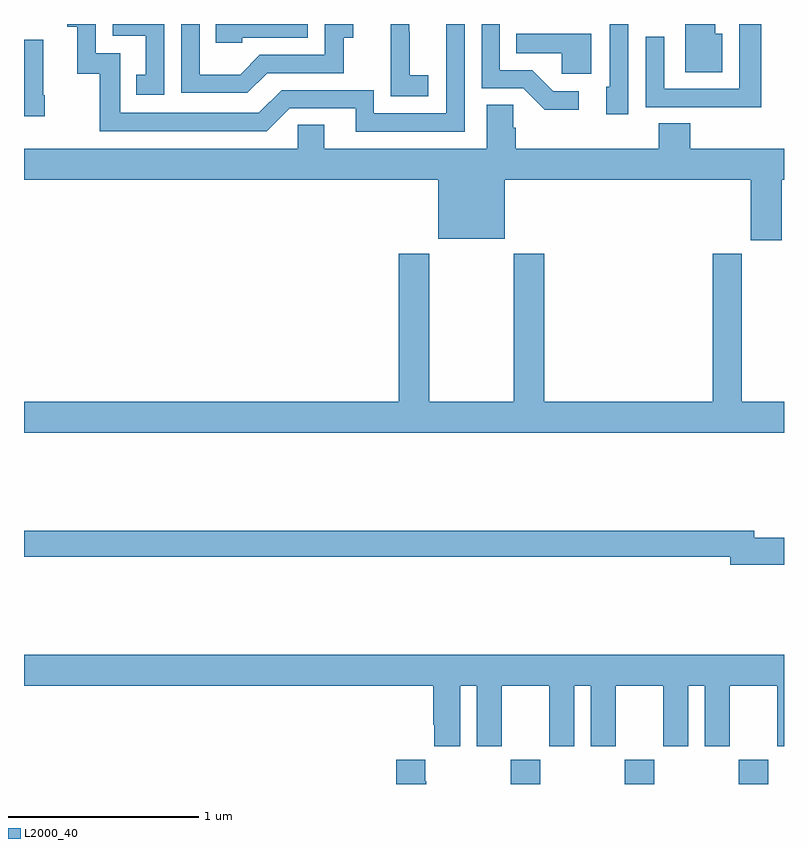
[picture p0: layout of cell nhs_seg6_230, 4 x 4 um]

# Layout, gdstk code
import gdstk
lib = gdstk.Library(unit=1e-6, precision=1e-09)
def R(c, l, rs):  # rectangles x0, y0, x1, y1
    for r in rs: c.add(gdstk.rectangle(r[:2], r[2:], *l))
def A(c, l, x, y, w, h, nx, ny, dx, dy):  # array of equal rectangles
    R(c, l, [(x+i*dx, y+j*dy, x+i*dx+w, y+j*dy+h) for i in range(nx) for j in range(ny)])
def P(c, l, *ps):  # polygons
    for p in ps: c.add(gdstk.Polygon(p, *l))
L2000_40 = (2000, 40)

nhs_seg6_230 = lib.new_cell('nhs_seg6_230')
A(nhs_seg6_230, L2000_40, 125.563, 933.5, 0.155, 0.128, 3, 1, 0.6, 0)
P(nhs_seg6_230, L2000_40, [(124.279,937.242),(124.683,937.242),(124.683,937.427),(124.732,937.427),(124.732,937.5),(124.584,937.5),(124.584,937.338),(124.242,937.338),(124.138,937.234),(123.924,937.234),(123.924,937.5),(123.828,937.5),(123.828,937.137),(124.174,937.137)],
  [(123.738,937.5),(123.468,937.5),(123.468,937.437),(123.641,937.437),(123.641,937.233),(123.592,937.233),(123.592,937.128),(123.738,937.128)],
  [(125.92,937.146),(125.785,937.146),(125.674,937.257),(125.505,937.257),(125.505,937.5),(125.409,937.5),(125.409,937.161),(125.628,937.161),(125.741,937.049),(125.92,937.049)],
  [(126.881,937.5),(126.765,937.5),(126.765,937.158),(126.369,937.158),(126.369,937.432),(126.273,937.432),(126.273,937.062),(126.589,937.062),(126.589,937.061),(126.881,937.061)],
  [(126.676,937.45),(126.637,937.45),(126.637,937.5),(126.479,937.5),(126.479,937.247),(126.676,937.247)],
  [(126.18,937.5),(126.083,937.5),(126.083,937.474),(126.084,937.474),(126.084,937.17),(126.065,937.17),(126.065,937.026),(126.18,937.026)],
  [(125.319,937.5),(125.113,937.5),(125.113,937.498),(125.223,937.498),(125.223,937.029),(124.842,937.029),(124.842,937.152),(124.356,937.152),(124.236,937.032),(123.507,937.032),(123.507,937.347),(123.378,937.347),(123.378,937.5),(123.228,937.5),(123.228,937.485),(123.281,937.485),(123.281,937.239),(123.399,937.239),(123.399,936.936),(124.278,936.936),(124.398,937.056),(124.745,937.056),(124.745,936.933),(125.319,936.933)],
  [(125.128,937.231),(125.03,937.231),(125.03,937.46),(125.028,937.46),(125.028,937.5),(124.931,937.5),(124.931,937.327),(124.93,937.327),(124.93,937.121),(125.128,937.121)],
  [(124.149,937.428),(124.494,937.428),(124.494,937.5),(124.009,937.5),(124.009,937.401),(124.149,937.401)],
  [(125.986,937.45),(125.59,937.45),(125.59,937.346),(125.829,937.346),(125.829,937.238),(125.986,937.238)],
  [(123.108,937.126),(123.1,937.126),(123.1,937.417),(123,937.417),(123,937.014),(123.108,937.014)],
  [(126.988,936.68),(127,936.68),(127,936.844),(126.506,936.844),(126.506,936.977),(126.341,936.977),(126.341,936.844),(125.588,936.844),(125.588,936.953),(125.574,936.953),(125.574,937.076),(125.435,937.076),(125.435,936.844),(124.579,936.844),(124.579,936.971),(124.44,936.971),(124.44,936.844),(123,936.844),(123,936.68),(125.18,936.68),(125.18,936.371),(125.53,936.371),(125.53,936.68),(126.824,936.68),(126.824,936.363),(126.988,936.363)],
  [(127,935.512),(126.778,935.512),(126.778,936.291),(126.626,936.291),(126.626,935.512),(125.738,935.512),(125.738,936.292),(125.578,936.292),(125.578,935.512),(125.133,935.512),(125.133,936.292),(124.973,936.292),(124.973,935.512),(123,935.512),(123,935.348),(127,935.348)],
  [(127,934.796),(126.844,934.796),(126.844,934.832),(123,934.832),(123,934.696),(126.716,934.696),(126.716,934.654),(127,934.654)],
  [(125.296,934.016),(125.384,934.016),(125.384,933.699),(125.515,933.699),(125.515,934.016),(125.765,934.016),(125.765,933.699),(125.896,933.699),(125.896,934.016),(125.984,934.016),(125.984,933.699),(126.115,933.699),(126.115,934.016),(126.365,934.016),(126.365,933.699),(126.496,933.699),(126.496,934.016),(126.584,934.016),(126.584,933.699),(126.715,933.699),(126.715,934.016),(126.965,934.016),(126.965,933.699),(127,933.699),(127,934.18),(123,934.18),(123,934.016),(125.153,934.016),(125.153,933.811),(125.159,933.811),(125.159,933.699),(125.296,933.699)],
  [(125.118,933.515),(125.113,933.515),(125.113,933.628),(124.958,933.628),(124.958,933.5),(125.118,933.5)])

lib.write_gds('nhs_seg6_230.gds')
